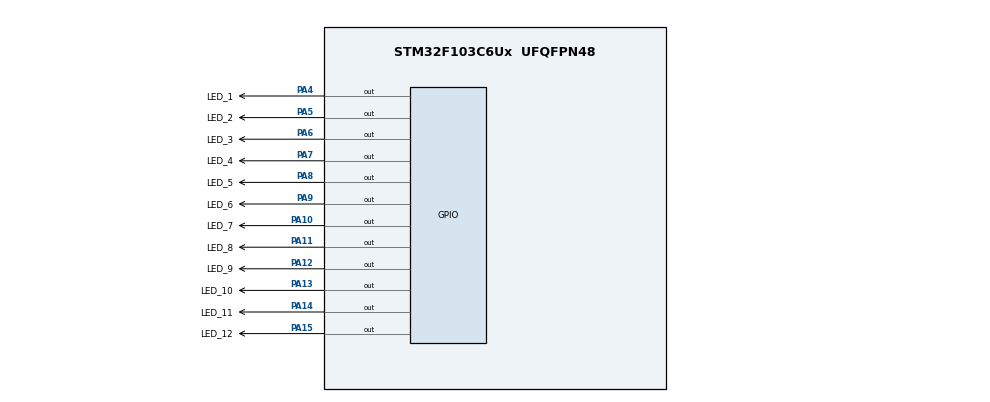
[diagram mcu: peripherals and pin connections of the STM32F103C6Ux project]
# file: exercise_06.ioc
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Mcu.Family=STM32F1
Mcu.Name=STM32F103C6Ux
Mcu.Package=UFQFPN48
NVIC.PriorityGroup=NVIC_PRIORITYGROUP_4
PA10.GPIO_Label=LED_7
PA10.Signal=GPIO_Output
PA11.GPIO_Label=LED_8
PA11.Signal=GPIO_Output
PA12.GPIO_Label=LED_9
PA12.Signal=GPIO_Output
PA13.GPIO_Label=LED_10
PA13.Signal=GPIO_Output
PA14.GPIO_Label=LED_11
PA14.Signal=GPIO_Output
PA15.GPIO_Label=LED_12
PA15.Signal=GPIO_Output
PA4.GPIO_Label=LED_1
PA4.Signal=GPIO_Output
PA5.GPIO_Label=LED_2
PA5.Signal=GPIO_Output
PA6.GPIO_Label=LED_3
PA6.Signal=GPIO_Output
PA7.GPIO_Label=LED_4
PA7.Signal=GPIO_Output
PA8.GPIO_Label=LED_5
PA8.Signal=GPIO_Output
PA9.GPIO_Label=LED_6
PA9.Signal=GPIO_Output
ProjectManager.HeapSize=0x200
ProjectManager.StackSize=0x400
ProjectManager.TargetToolchain=CMake
RCC.APB1Freq_Value=8000000
RCC.APB2Freq_Value=8000000
VP_SYS_VS_ND.Mode=No_Debug
board=custom

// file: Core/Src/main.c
/* USER CODE BEGIN Header */
/**
 ******************************************************************************
 * @file           : main.c
 * @brief          : Main program body
 ******************************************************************************
 * @attention
 *
 * Copyright (c) 2025 STMicroelectronics.
 * All rights reserved.
 *
 * This software is licensed under terms that can be found in the LICENSE file
 * in the root directory of this software component.
 * If no LICENSE file comes with this software, it is provided AS-IS.
 *
 ******************************************************************************
 */
/* USER CODE END Header */
#include "main.h"

void SystemClock_Config(void);
static void MX_GPIO_Init(void);

/* USER CODE BEGIN 0 */
// Put all LED pins into an array
uint16_t ledPins[] = {
    LED_12_Pin,
    LED_1_Pin,
    LED_2_Pin,
    LED_3_Pin,
    LED_4_Pin,
    LED_5_Pin,
    LED_6_Pin,
    LED_7_Pin,
    LED_8_Pin,
    LED_9_Pin,
    LED_10_Pin,
    LED_11_Pin
};

void clearAllClock()
{
    HAL_GPIO_WritePin(GPIOA, LED_1_Pin | LED_2_Pin | LED_3_Pin | LED_4_Pin | LED_5_Pin | LED_6_Pin | LED_7_Pin | LED_8_Pin | LED_9_Pin | LED_10_Pin | LED_11_Pin | LED_12_Pin, GPIO_PIN_SET);
}

void setNumberOnClock(int number)
{
    // Check index
    if (number < 0 || number > 11)
    {
        return; // Invalid number
    }
    HAL_GPIO_WritePin(GPIOA, ledPins[number], GPIO_PIN_RESET);
}

void clearNumberOnClock(int number)
{
    // Check index
    if (number < 0 || number > 11)
    {
        return; // Invalid number
    }
    HAL_GPIO_WritePin(GPIOA, ledPins[number], GPIO_PIN_SET);
}

void showClockHands(int hour_pos, int minute_pos, int second_pos)
{
    clearAllClock();

    setNumberOnClock(hour_pos);
    setNumberOnClock(minute_pos);
    setNumberOnClock(second_pos);
}

int seconds = 0;
int minutes = 0;
int hours = 0;
/* USER CODE END 0 */

int main(void)
{

    /* MCU Configuration--------------------------------------------------------*/

    /* Reset of all peripherals, Initializes the Flash interface and the Systick. */
    HAL_Init();

    /* Configure the system clock */
    SystemClock_Config();

    /* Initialize all configured peripherals */
    MX_GPIO_Init();

    /* Infinite loop */
    /* USER CODE BEGIN WHILE */

    while (1)
    {
        showClockHands(hours, minutes, seconds);
        HAL_Delay(500);

        seconds++;
        if (seconds >= 12)
        {
            seconds = 0;
            minutes++;
            if (minutes >= 12)
            {
                minutes = 0;
                hours++;
                if (hours >= 12)
                {
                    hours = 0;
                }
            }
        }
    }
    /* USER CODE END 3 */
}

void SystemClock_Config(void)
{
    RCC_OscInitTypeDef RCC_OscInitStruct = {0};
    RCC_ClkInitTypeDef RCC_ClkInitStruct = {0};

    /** Initializes the RCC Oscillators according to the specified parameters
     * in the RCC_OscInitTypeDef structure.
     */
    RCC_OscInitStruct.OscillatorType = RCC_OSCILLATORTYPE_HSI;
    RCC_OscInitStruct.HSIState = RCC_HSI_ON;
    RCC_OscInitStruct.HSICalibrationValue = RCC_HSICALIBRATION_DEFAULT;
    RCC_OscInitStruct.PLL.PLLState = RCC_PLL_NONE;
    if (HAL_RCC_OscConfig(&RCC_OscInitStruct) != HAL_OK)
    {
        Error_Handler();
    }

    /** Initializes the CPU, AHB and APB buses clocks
     */
    RCC_ClkInitStruct.ClockType = RCC_CLOCKTYPE_HCLK | RCC_CLOCKTYPE_SYSCLK | RCC_CLOCKTYPE_PCLK1 | RCC_CLOCKTYPE_PCLK2;
    RCC_ClkInitStruct.SYSCLKSource = RCC_SYSCLKSOURCE_HSI;
    RCC_ClkInitStruct.AHBCLKDivider = RCC_SYSCLK_DIV1;
    RCC_ClkInitStruct.APB1CLKDivider = RCC_HCLK_DIV1;
    RCC_ClkInitStruct.APB2CLKDivider = RCC_HCLK_DIV1;

    if (HAL_RCC_ClockConfig(&RCC_ClkInitStruct, FLASH_LATENCY_0) != HAL_OK)
    {
        Error_Handler();
    }
}

static void MX_GPIO_Init(void)
{
    GPIO_InitTypeDef GPIO_InitStruct = {0};

    /* GPIO Ports Clock Enable */
    __HAL_RCC_GPIOA_CLK_ENABLE();

    /*Configure GPIO pin Output Level */
    HAL_GPIO_WritePin(GPIOA, LED_1_Pin | LED_2_Pin | LED_3_Pin | LED_4_Pin | LED_5_Pin | LED_6_Pin | LED_7_Pin | LED_8_Pin | LED_9_Pin | LED_10_Pin | LED_11_Pin | LED_12_Pin, GPIO_PIN_SET);

    /*Configure GPIO pins : LED_1_Pin LED_2_Pin LED_3_Pin LED_4_Pin
                             LED_5_Pin LED_6_Pin LED_7_Pin LED_8_Pin
                             LED_9_Pin LED_10_Pin LED_11_Pin LED_12_Pin */
    GPIO_InitStruct.Pin = LED_1_Pin | LED_2_Pin | LED_3_Pin | LED_4_Pin | LED_5_Pin | LED_6_Pin | LED_7_Pin | LED_8_Pin | LED_9_Pin | LED_10_Pin | LED_11_Pin | LED_12_Pin;
    GPIO_InitStruct.Mode = GPIO_MODE_OUTPUT_PP;
    GPIO_InitStruct.Pull = GPIO_NOPULL;
    GPIO_InitStruct.Speed = GPIO_SPEED_FREQ_LOW;
    HAL_GPIO_Init(GPIOA, &GPIO_InitStruct);

}

void Error_Handler(void)
{
    __disable_irq();
    while (1)
    {
    }
}
